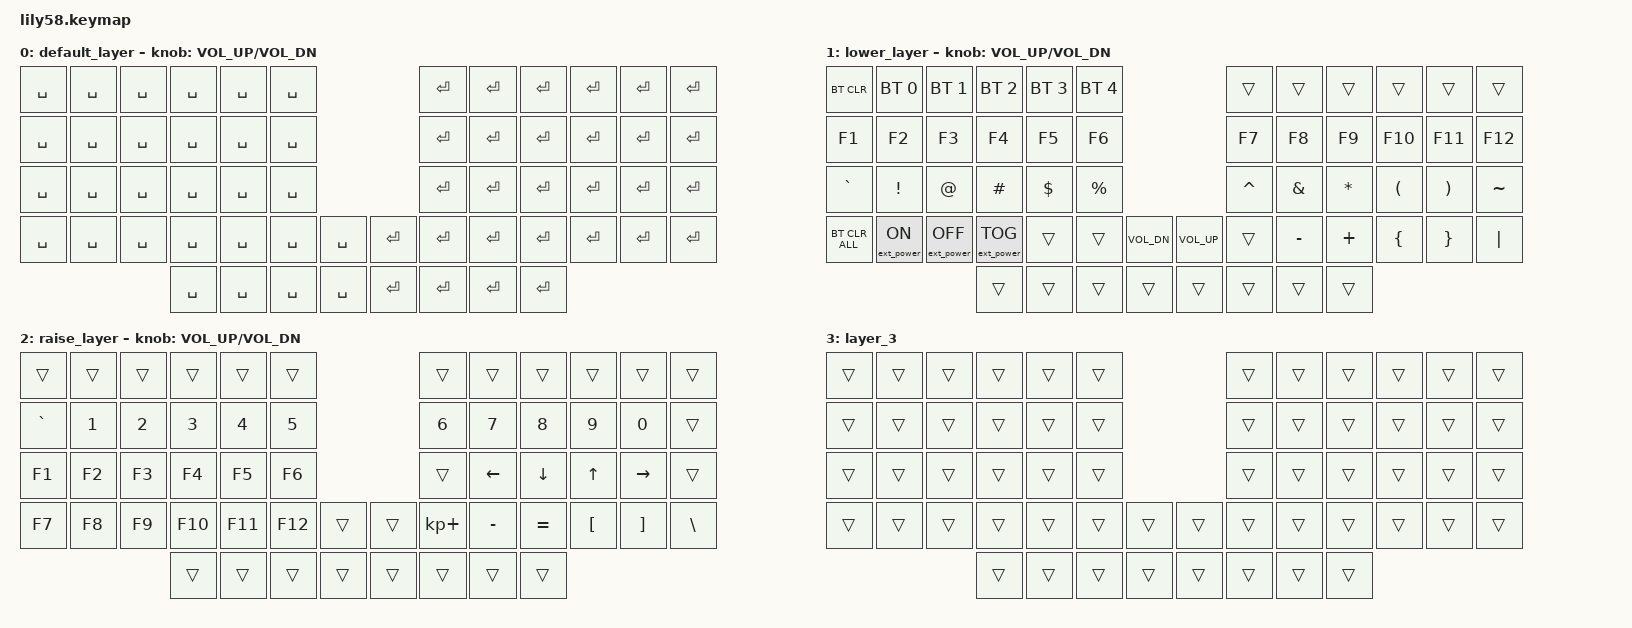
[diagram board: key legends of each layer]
/*
 * Copyright (c) 2020 The ZMK Contributors
 *
 * SPDX-License-Identifier: MIT
 */

#include <behaviors.dtsi>
#include <dt-bindings/zmk/bt.h>
#include <dt-bindings/zmk/ext_power.h>
#include <dt-bindings/zmk/keys.h>

/ {
    keymap {
        compatible = "zmk,keymap";

        default_layer {
            // ------------------------------------------------------------------------------------------------------------
            // |  ESC  |  1  |  2  |  3   |  4   |  5   |                   |  6   |  7    |  8    |  9   |   0   |   `   |
            // |  TAB  |  Q  |  W  |  E   |  R   |  T   |                   |  Y   |  U    |  I    |  O   |   P   |   -   |
            // |  CTRL |  A  |  S  |  D   |  F   |  G   |                   |  H   |  J    |  K    |  L   |   ;   |   '   |
            // | SHIFT |  Z  |  X  |  C   |  V   |  B   |   "["  |  |  "]"  |  N   |  M    |  ,    |  .   |   /   | SHIFT |
            //                     | ALT  | GUI  | LOWER|  SPACE |  | ENTER | RAISE| BSPC  | GUI   |

            bindings = <
&kp SPACE  &kp SPACE  &kp SPACE  &kp SPACE  &kp SPACE  &kp SPACE                        &kp RET  &kp RET  &kp RET  &kp RET  &kp RET  &kp RET
&kp SPACE  &kp SPACE  &kp SPACE  &kp SPACE  &kp SPACE  &kp SPACE                        &kp RET  &kp RET  &kp RET  &kp RET  &kp RET  &kp RET
&kp SPACE  &kp SPACE  &kp SPACE  &kp SPACE  &kp SPACE  &kp SPACE                        &kp RET  &kp RET  &kp RET  &kp RET  &kp RET  &kp RET
&kp SPACE  &kp SPACE  &kp SPACE  &kp SPACE  &kp SPACE  &kp SPACE  &kp SPACE    &kp RET  &kp RET  &kp RET  &kp RET  &kp RET  &kp RET  &kp RET
                                 &kp SPACE  &kp SPACE  &kp SPACE  &kp SPACE    &kp RET  &kp RET  &kp RET  &kp RET
            >;

            sensor-bindings = <&inc_dec_kp C_VOL_UP C_VOL_DN>;
        };

        lower_layer {
            // ------------------------------------------------------------------------------------------------------------
            // | BTCLR | BT1 | BT2 |  BT3 |  BT4 |  BT5 |                   |      |       |       |      |       |       |
            // |  F1   |  F2 |  F3 |  F4  |  F5  |  F6  |                   |  F7  |  F8   |  F9   |  F10 |  F11  |  F12  |
            // |   `   |  !  |  @  |  #   |  $   |  %   |                   |  ^   |  &    |  *    |  (   |   )   |   ~   |
            // |       |     |     |      |      |      |        |  |       |      |  _    |  +    |  {   |   }   |  "|"  |
            //                     |      |      |      |        |  |       |      |       |       |

            bindings = <
&bt BT_CLR      &bt BT_SEL 0      &bt BT_SEL 1       &bt BT_SEL 2       &bt BT_SEL 3  &bt BT_SEL 4                                   &trans     &trans     &trans     &trans    &trans    &trans
&kp F1          &kp F2            &kp F3             &kp F4             &kp F5        &kp F6                                         &kp F7     &kp F8     &kp F9     &kp F10   &kp F11   &kp F12
&kp GRAVE       &kp EXCL          &kp AT             &kp HASH           &kp DOLLAR    &kp PRCNT                                      &kp CARET  &kp AMPS   &kp ASTRK  &kp LPAR  &kp RPAR  &kp TILDE
&bt BT_CLR_ALL  &ext_power EP_ON  &ext_power EP_OFF  &ext_power EP_TOG  &trans        &trans        &kp C_VOL_DN    &kp C_VOLUME_UP  &trans     &kp MINUS  &kp PLUS   &kp LBRC  &kp RBRC  &kp PIPE
                                                     &trans             &trans        &trans        &trans          &trans           &trans     &trans     &trans
            >;

            sensor-bindings = <&inc_dec_kp C_VOL_UP C_VOL_DN>;
        };

        raise_layer {
            // ------------------------------------------------------------------------------------------------------------
            // |       |     |     |      |      |      |                   |      |       |       |      |       |       |
            // |   `   |  1  |  2  |  3   |  4   |  5   |                   |  6   |   7   |   8   |  9   |   0   |       |
            // |   F1  |  F2 |  F3 |  F4  |  F5  |  F6  |                   |      |   <-  |   v   |  ^   |  ->   |       |
            // |   F7  |  F8 |  F9 |  F10 |  F11 |  F12 |        |  |       |  +   |   -   |   =   |  [   |   ]   |   \   |
            //                     |      |      |      |        |  |       |      |       |       |

            bindings = <
&trans     &trans  &trans  &trans   &trans   &trans                     &trans       &trans     &trans     &trans    &trans     &trans
&kp GRAVE  &kp N1  &kp N2  &kp N3   &kp N4   &kp N5                     &kp N6       &kp N7     &kp N8     &kp N9    &kp N0     &trans
&kp F1     &kp F2  &kp F3  &kp F4   &kp F5   &kp F6                     &trans       &kp LEFT   &kp DOWN   &kp UP    &kp RIGHT  &trans
&kp F7     &kp F8  &kp F9  &kp F10  &kp F11  &kp F12  &trans    &trans  &kp KP_PLUS  &kp MINUS  &kp EQUAL  &kp LBKT  &kp RBKT   &kp BSLH
                           &trans   &trans   &trans   &trans    &trans  &trans       &trans     &trans
            >;

            sensor-bindings = <&inc_dec_kp C_VOL_UP C_VOL_DN>;
        };

        layer_3 {
            bindings = <
&trans  &trans  &trans  &trans  &trans  &trans                    &trans  &trans  &trans  &trans  &trans  &trans
&trans  &trans  &trans  &trans  &trans  &trans                    &trans  &trans  &trans  &trans  &trans  &trans
&trans  &trans  &trans  &trans  &trans  &trans                    &trans  &trans  &trans  &trans  &trans  &trans
&trans  &trans  &trans  &trans  &trans  &trans  &trans    &trans  &trans  &trans  &trans  &trans  &trans  &trans
                        &trans  &trans  &trans  &trans    &trans  &trans  &trans  &trans
            >;
        };
    };
};
